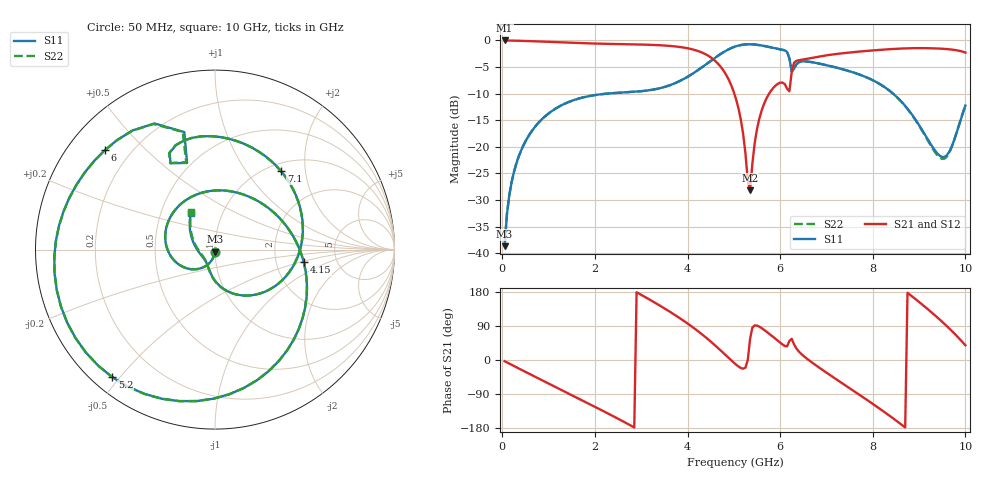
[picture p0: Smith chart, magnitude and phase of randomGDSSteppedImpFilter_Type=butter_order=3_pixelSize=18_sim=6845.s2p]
! freq	dB(S11)	phase(S11)	dB(S12)	phase(S12)
!  dB(S21)	phase(S21)	dB(S22)	phase(S22)
!S-par simulation data
#  GHz  S  DB  R 50
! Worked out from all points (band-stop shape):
!   200 points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, 50 MHz to 10 GHz, reference 50 ohm
!   highest |S21| = 0.00 dB at 50 MHz (marker M1); lowest = -28.2 dB at 5.35 GHz (marker M2)
!   |S21| within 3 dB of the highest: start of sweep to 4.469 GHz; 6.855 GHz to end of sweep
!   lowest |S11| = -38.7 dB at 50 MHz (marker M3), VSWR 1.02, Z = 49.9 - j1.16 ohm
!   |S11| at or under -10 dB: start of sweep to 2.264 GHz; 8.439 GHz to end of sweep
!   |S22| runs from -38.7 to -0.7 dB; largest |S21 - S12| = 0
!   S11 on the Smith chart (normalised r, x): 50 MHz: 1.00, -0.02; 4.15 GHz: 2.88, -0.54; 5.2 GHz: 0.06, -0.48; 6 GHz: 0.11, +0.38; 7.1 GHz: 1.15, +1.48; 10 GHz: 0.71, +0.31
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0.05  -38.70 -92.8  -0.00 -3.2  -0.00 -3.2  -38.70 -92.8
0.2  -26.71 -102.7  -0.03 -12.6  -0.03 -12.6  -26.71 -102.7
0.5  -18.99 -121.8  -0.10 -31.3  -0.10 -31.3  -18.99 -121.7
1.75  -10.70 161.2  -0.52 -108.1  -0.52 -108.1  -10.70 161.3
2.65  -9.77 104.7  -0.70 -164.7  -0.70 -164.7  -9.77 104.7
3.4  -8.99 53.1  -0.90 143.8  -0.90 143.8  -8.99 53.0
4.15  -6.03 -8.1  -1.78 83.1  -1.78 83.1  -6.03 -8.2
4.65  -2.91 -60.1  -4.30 32.5  -4.30 32.5  -2.91 -60.1
5.05  -1.09 -109.7  -11.12 -12.3  -11.12 -12.3  -1.09 -109.6
5.2  -0.80 -128.9  -17.54 -23.0  -17.54 -23.0  -0.79 -128.8
5.35  -0.72 -147.7  -28.22 55.0  -28.22 55.0  -0.72 -147.5
5.55  -0.88 -171.7  -14.72 88.0  -14.72 88.0  -0.88 -171.4
6  -1.65 137.9  -7.95 46.0  -7.95 46.0  -1.65 138.3
6.2  -3.39 104.6  -9.56 50.4  -9.56 50.4  -3.35 105.3
6.3  -5.33 117.2  -4.19 41.3  -4.19 41.3  -5.30 117.4
6.7  -4.11 83.0  -3.24 -7.8  -3.24 -7.8  -4.11 83.4
7.1  -4.86 49.7  -2.68 -41.7  -2.68 -41.7  -4.86 50.2
7.75  -6.54 -1.4  -2.06 -94.9  -2.06 -94.9  -6.54 -1.0
8.35  -9.37 -47.4  -1.65 -146.0  -1.65 -146.0  -9.38 -47.4
8.9  -14.61 -86.9  -1.45 163.0  -1.45 163.0  -14.69 -87.8
9.4  -21.30 -124.4  -1.52 111.8  -1.52 111.8  -21.65 -127.6
10  -12.24 123.5  -2.28 38.9  -2.28 38.9  -12.21 122.4
